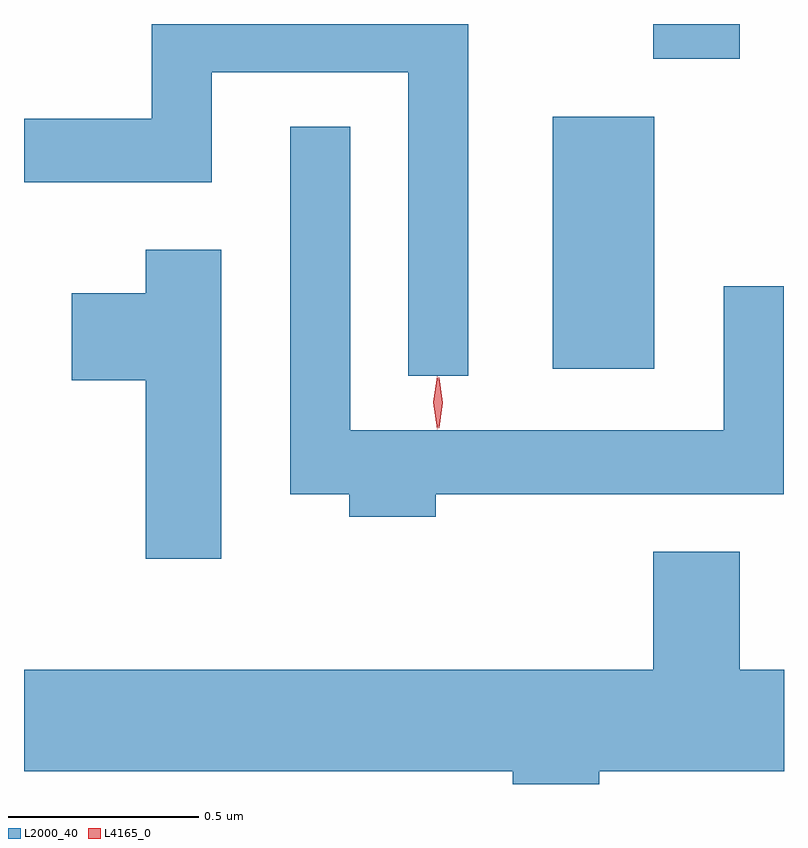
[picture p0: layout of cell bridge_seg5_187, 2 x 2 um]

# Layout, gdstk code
import gdstk
lib = gdstk.Library(unit=1e-6, precision=1e-09)
def R(c, l, rs):  # rectangles x0, y0, x1, y1
    for r in rs: c.add(gdstk.rectangle(r[:2], r[2:], *l))
def P(c, l, *ps):  # polygons
    for p in ps: c.add(gdstk.Polygon(p, *l))
L2000_40 = (2000, 40)
L4165_0 = (4165, 0)

bridge_seg5_187 = lib.new_cell('bridge_seg5_187')
R(bridge_seg5_187, L2000_40, [(1260.136,1420.116,1260.404,1420.779), (1260.401,1420.931,1260.629,1421.023)])
P(bridge_seg5_187, L2000_40, [(1259.914,1421.023),(1259.081,1421.023),(1259.081,1420.774),(1258.745,1420.774),(1258.745,1420.606),(1259.239,1420.606),(1259.239,1420.896),(1259.756,1420.896),(1259.756,1420.098),(1259.914,1420.098)],
  [(1259.829,1419.786),(1260.744,1419.786),(1260.744,1420.333),(1260.586,1420.333),(1260.586,1419.954),(1259.604,1419.954),(1259.604,1420.753),(1259.446,1420.753),(1259.446,1419.786),(1259.601,1419.786),(1259.601,1419.726),(1259.829,1419.726)],
  [(1259.264,1420.429),(1259.066,1420.429),(1259.066,1420.314),(1258.871,1420.314),(1258.871,1420.086),(1259.066,1420.086),(1259.066,1419.616),(1259.264,1419.616)],
  [(1260.259,1419.056),(1260.745,1419.056),(1260.745,1419.324),(1260.629,1419.324),(1260.629,1419.634),(1260.401,1419.634),(1260.401,1419.324),(1258.745,1419.324),(1258.745,1419.056),(1260.031,1419.056),(1260.031,1419.023),(1260.259,1419.023)])
P(bridge_seg5_187, L4165_0, [(1259.837,1419.959),(1259.837,1419.96),(1259.827,1420.026),(1259.836,1420.092),(1259.837,1420.093),(1259.838,1420.092),(1259.847,1420.026),(1259.838,1419.96)],
  [(1259.832,1419.957),(1259.832,1419.957),(1259.822,1420.027),(1259.832,1420.096),(1259.832,1420.096),(1259.833,1420.096),(1259.842,1420.027),(1259.833,1419.957)])

lib.write_gds('bridge_seg5_187.gds')
